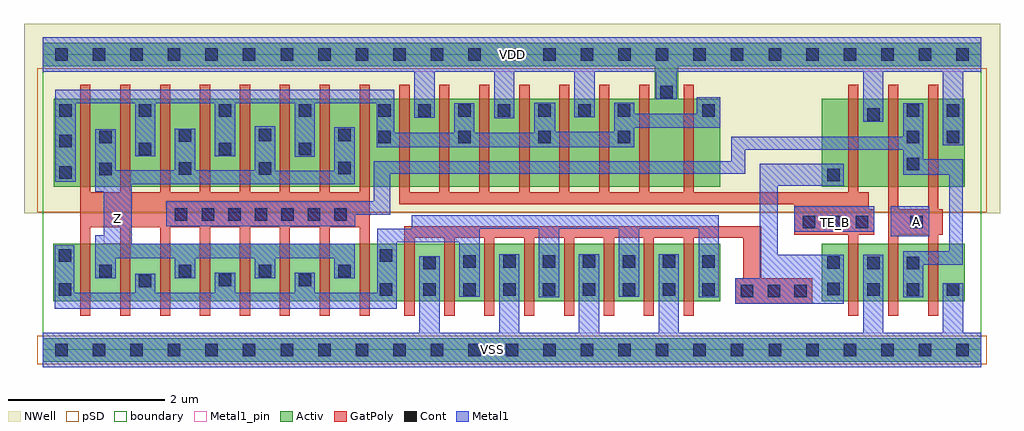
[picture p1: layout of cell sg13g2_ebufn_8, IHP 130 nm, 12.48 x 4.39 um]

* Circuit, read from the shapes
.subckt sg13g2_ebufn_8 A TE_B VDD VSS Z
XM1 Z n1 n2 VSS sg13_lv_nmos w=0.74u l=0.13u m=8
XM2 VSS n3 n2 VSS sg13_lv_nmos w=0.74u l=0.13u m=8
XM3 VSS TE_B n3 VSS sg13_lv_nmos w=0.74u l=0.13u
XM4 n1 A VSS VSS sg13_lv_nmos w=0.74u l=0.13u m=2
XM5 Z n1 n4 VDD sg13_lv_pmos w=1.12u l=0.13u m=8
XM6 VDD TE_B n4 VDD sg13_lv_pmos w=1.12u l=0.13u m=8
XM7 VDD TE_B n3 VDD sg13_lv_pmos w=1.12u l=0.13u
XM8 n1 A VDD VDD sg13_lv_pmos w=1.12u l=0.13u m=2
.ends

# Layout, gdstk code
import gdstk
lib = gdstk.Library(unit=1e-6, precision=1e-09)
def R(c, l, rs):  # rectangles x0, y0, x1, y1
    for r in rs: c.add(gdstk.rectangle(r[:2], r[2:], *l))
def A(c, l, x, y, w, h, nx, ny, dx, dy):  # array of equal rectangles
    R(c, l, [(x+i*dx, y+j*dy, x+i*dx+w, y+j*dy+h) for i in range(nx) for j in range(ny)])
def P(c, l, *ps):  # polygons
    for p in ps: c.add(gdstk.Polygon(p, *l))
Activ = (1, 0)
GatPoly = (5, 0)
Cont = (6, 0)
Metal1 = (8, 0)
Metal1_pin = (8, 2)
pSD = (14, 0)
NWell = (31, 0)
boundary = (189, 4)

sg13g2_ebufn_8 = lib.new_cell('sg13g2_ebufn_8')
R(sg13g2_ebufn_8, Activ, [(0,-0.15,12,0.15), (0.135,0.62,8.665,1.36), (9.96,0.62,11.79,1.36), (9.96,2.09,11.79,3.21)])
P(sg13g2_ebufn_8, Activ, [(0.14,2.09),(0.14,3.21),(7.825,3.21),(7.825,3.63),(0,3.63),(0,3.93),(12,3.93),(12,3.63),(8.125,3.63),(8.125,3.21),(8.665,3.21),(8.665,2.09)])
P(sg13g2_ebufn_8, GatPoly, [(0.48,0.44),(0.48,3.39),(0.61,3.39),(0.61,2.015),(0.99,2.015),(0.99,3.39),(1.12,3.39),(1.12,2.015),(1.5,2.015),(1.5,3.39),(1.63,3.39),(1.63,2.015),(2.01,2.015),(2.01,3.39),(2.14,3.39),(2.14,2.015),(2.52,2.015),(2.52,3.39),(2.65,3.39),(2.65,2.015),(3.03,2.015),(3.03,3.39),(3.16,3.39),(3.16,2.015),(3.54,2.015),(3.54,3.39),(3.67,3.39),(3.67,2.015),(4.05,2.015),(4.05,3.39),(4.18,3.39),(4.18,0.44),(4.05,0.44),(4.05,1.57),(3.67,1.57),(3.67,0.44),(3.54,0.44),(3.54,1.57),(3.16,1.57),(3.16,0.44),(3.03,0.44),(3.03,1.57),(2.65,1.57),(2.65,0.44),(2.52,0.44),(2.52,1.57),(2.14,1.57),(2.14,0.44),(2.01,0.44),(2.01,1.57),(1.63,1.57),(1.63,0.44),(1.5,0.44),(1.5,1.57),(1.12,1.57),(1.12,0.44),(0.99,0.44),(0.99,1.57),(0.61,1.57),(0.61,0.44)],
  [(4.625,0.44),(4.625,1.585),(9.19,1.585),(9.19,0.92),(9.84,0.92),(9.84,0.59),(8.855,0.59),(8.855,0.92),(8.955,0.92),(8.955,1.435),(8.325,1.435),(8.325,0.44),(8.195,0.44),(8.195,1.435),(7.815,1.435),(7.815,0.44),(7.685,0.44),(7.685,1.435),(7.305,1.435),(7.305,0.44),(7.175,0.44),(7.175,1.435),(6.795,1.435),(6.795,0.44),(6.665,0.44),(6.665,1.435),(6.285,1.435),(6.285,0.44),(6.155,0.44),(6.155,1.435),(5.775,1.435),(5.775,0.44),(5.645,0.44),(5.645,1.435),(5.265,1.435),(5.265,0.44),(5.135,0.44),(5.135,1.435),(4.755,1.435),(4.755,0.44)],
  [(10.3,0.44),(10.3,1.47),(9.61,1.47),(9.61,1.865),(4.56,1.865),(4.56,3.39),(4.69,3.39),(4.69,2.015),(5.07,2.015),(5.07,3.39),(5.2,3.39),(5.2,2.015),(5.58,2.015),(5.58,3.39),(5.71,3.39),(5.71,2.015),(6.095,2.015),(6.095,3.39),(6.225,3.39),(6.225,2.015),(6.605,2.015),(6.605,3.39),(6.735,3.39),(6.735,2.015),(7.115,2.015),(7.115,3.39),(7.245,3.39),(7.245,2.015),(7.625,2.015),(7.625,3.39),(7.755,3.39),(7.755,2.015),(8.195,2.015),(8.195,3.39),(8.325,3.39),(8.325,2.015),(10.3,2.015),(10.3,3.39),(10.43,3.39),(10.43,2.015),(10.56,2.015),(10.56,1.8),(10.63,1.8),(10.63,1.47),(10.43,1.47),(10.43,0.44)],
  [(10.81,0.44),(10.81,3.39),(10.94,3.39),(10.94,1.8),(11.32,1.8),(11.32,3.39),(11.45,3.39),(11.45,1.8),(11.51,1.8),(11.51,1.47),(11.45,1.47),(11.45,0.44),(11.32,0.44),(11.32,1.47),(10.94,1.47),(10.94,0.44)])
A(sg13g2_ebufn_8, Cont, 0.16, -0.08, 0.16, 0.16, 25, 2, 0.48, 3.78)
A(sg13g2_ebufn_8, Cont, 4.865, 0.69, 0.16, 0.16, 8, 1, 0.51, 0)
A(sg13g2_ebufn_8, Cont, 10.54, 0.69, 0.16, 0.16, 3, 1, 0.51, 0)
A(sg13g2_ebufn_8, Cont, 0.72, 0.93, 0.16, 0.16, 4, 1, 1.02, 0)
A(sg13g2_ebufn_8, Cont, 5.375, 1.05, 0.16, 0.16, 7, 1, 0.51, 0)
A(sg13g2_ebufn_8, Cont, 9.715, 1.555, 0.16, 0.16, 3, 1, 0.34, 0)
A(sg13g2_ebufn_8, Cont, 1.69, 1.655, 0.16, 0.16, 7, 1, 0.34, 0)
A(sg13g2_ebufn_8, Cont, 11.05, 2.3, 0.16, 0.16, 1, 3, 0, 0.34)
A(sg13g2_ebufn_8, Cont, 1.23, 2.49, 0.16, 0.16, 3, 1, 1.02, 0)
A(sg13g2_ebufn_8, Cont, 0.21, 2.98, 0.16, 0.16, 5, 1, 1.02, 0)
A(sg13g2_ebufn_8, Cont, 4.8, 2.98, 0.16, 0.16, 3, 1, 0.51, 0)
A(sg13g2_ebufn_8, Cont, 6.335, 2.98, 0.16, 0.16, 3, 1, 0.51, 0)
R(sg13g2_ebufn_8, Cont, [(8.925,0.675,9.085,0.835), (9.27,0.675,9.43,0.835), (9.61,0.675,9.77,0.835), (0.205,0.69,0.365,0.85), (4.31,0.69,4.47,0.85), (10.03,0.7,10.19,0.86), (1.23,0.8,1.39,0.96), (2.25,0.815,2.41,0.975), (3.27,0.815,3.43,0.975), (4.865,1.03,5.025,1.19), (10.54,1.03,10.7,1.19), (11.05,1.03,11.21,1.19), (10.03,1.04,10.19,1.2), (0.205,1.13,0.365,1.29), (4.31,1.13,4.47,1.29), (11.095,1.555,11.255,1.715), (10.03,2.16,10.19,2.32), (0.21,2.19,0.37,2.35), (0.72,2.235,0.88,2.395), (1.74,2.24,1.9,2.4), (2.76,2.24,2.92,2.4), (3.78,2.245,3.94,2.405), (0.21,2.59,0.37,2.75), (4.29,2.64,4.45,2.8), (5.31,2.64,5.47,2.8), (6.335,2.64,6.495,2.8), (7.355,2.64,7.515,2.8), (11.56,2.64,11.72,2.8), (0.72,2.645,0.88,2.805), (1.74,2.66,1.9,2.82), (2.76,2.67,2.92,2.83), (3.78,2.67,3.94,2.83), (10.54,2.93,10.7,3.09), (8.435,2.98,8.595,3.14), (11.56,2.98,11.72,3.14), (7.895,3.22,8.055,3.38)])
R(sg13g2_ebufn_8, Metal1, [(10.84,1.455,11.335,1.835), (9.61,1.51,10.63,1.835)])
P(sg13g2_ebufn_8, Metal1, [(0.15,0.53),(0.15,1.34),(0.405,1.34),(0.405,0.73),(1.18,0.73),(1.18,0.975),(1.44,0.975),(1.44,0.73),(2.2,0.73),(2.2,0.985),(2.46,0.985),(2.46,0.73),(3.22,0.73),(3.22,0.985),(3.48,0.985),(3.48,0.73),(4.28,0.73),(4.28,1.55),(4.72,1.55),(4.72,1.72),(8.645,1.72),(8.645,0.675),(8.385,0.675),(8.385,1.55),(7.625,1.55),(7.625,0.68),(7.365,0.68),(7.365,1.55),(6.605,1.55),(6.605,0.675),(6.345,0.675),(6.345,1.55),(5.585,1.55),(5.585,0.68),(5.325,0.68),(5.325,1.38),(4.525,1.38),(4.525,0.53)],
  [(8.855,0.59),(8.855,0.92),(9.165,0.92),(9.165,2.38),(10.24,2.38),(10.24,2.1),(9.4,2.1),(9.4,1.22),(10.24,1.22),(10.24,0.59)],
  [(0.16,2.15),(0.16,3.325),(4.495,3.325),(4.495,2.78),(5.26,2.78),(5.26,3.155),(5.52,3.155),(5.52,2.78),(6.285,2.78),(6.285,3.16),(6.55,3.16),(6.55,2.79),(7.305,2.79),(7.305,3.16),(7.565,3.16),(7.565,3.02),(8.365,3.02),(8.365,3.23),(8.665,3.23),(8.665,2.84),(7.565,2.84),(7.565,2.59),(4.27,2.59),(4.27,3.155),(3.48,3.155),(3.48,2.47),(3.22,2.47),(3.22,3.155),(2.46,3.155),(2.46,2.48),(2.2,2.48),(2.2,3.155),(1.44,3.155),(1.44,2.48),(1.18,2.48),(1.18,3.155),(0.42,3.155),(0.42,2.15)],
  [(11,0.675),(11,1.26),(11.59,1.26),(11.59,2.24),(11,2.24),(11,2.56),(8.985,2.56),(8.985,2.25),(4.445,2.25),(4.445,1.73),(3.995,1.73),(3.995,1.585),(1.58,1.585),(1.58,1.9),(4.235,1.9),(4.235,2.41),(8.805,2.41),(8.805,2.725),(11,2.725),(11,3.155),(11.26,3.155),(11.26,2.44),(11.765,2.44),(11.765,1.09),(11.26,1.09),(11.26,0.675)],
  [(3.73,0.915),(3.73,1.17),(2.97,1.17),(2.97,0.92),(2.71,0.92),(2.71,1.17),(1.95,1.17),(1.95,0.92),(1.685,0.92),(1.685,1.17),(0.93,1.17),(0.93,0.92),(0.67,0.92),(0.67,1.465),(0.78,1.465),(0.78,2.02),(0.67,2.02),(0.67,2.82),(0.93,2.82),(0.93,2.295),(1.69,2.295),(1.69,2.83),(1.95,2.83),(1.95,2.295),(2.71,2.295),(2.71,2.86),(2.97,2.86),(2.97,2.29),(3.73,2.29),(3.73,2.85),(3.99,2.85),(3.99,2.12),(1.14,2.12),(1.14,1.36),(3.99,1.36),(3.99,0.915)],
  [(11.51,2.62),(11.51,3.56),(10.75,3.56),(10.75,2.915),(10.49,2.915),(10.49,3.56),(8.105,3.56),(8.105,3.205),(7.84,3.205),(7.84,3.56),(7.055,3.56),(7.055,2.975),(6.795,2.975),(6.795,3.56),(6.03,3.56),(6.03,2.96),(5.77,2.96),(5.77,3.56),(5.01,3.56),(5.01,2.97),(4.75,2.97),(4.75,3.56),(0,3.56),(0,4),(12,4),(12,3.56),(11.77,3.56),(11.77,2.62)],
  [(0,-0.22),(0,0.22),(4.815,0.22),(4.815,1.2),(5.075,1.2),(5.075,0.22),(5.835,0.22),(5.835,1.225),(6.095,1.225),(6.095,0.22),(6.855,0.22),(6.855,1.225),(7.115,1.225),(7.115,0.22),(7.875,0.22),(7.875,1.225),(8.135,1.225),(8.135,0.22),(10.49,0.22),(10.49,1.22),(10.75,1.22),(10.75,0.22),(11.51,0.22),(11.51,0.855),(11.77,0.855),(11.77,0.22),(12,0.22),(12,-0.22)])
R(sg13g2_ebufn_8, Metal1_pin, [(0,-0.22,12,0.22), (0.78,1.36,1.14,2.295), (10.84,1.455,11.335,1.835), (9.61,1.51,10.63,1.835), (0,3.56,12,4)])
R(sg13g2_ebufn_8, pSD, [(-0.07,-0.18,12.07,0.18), (-0.07,1.76,12.07,3.6)])
R(sg13g2_ebufn_8, NWell, [(-0.24,1.75,12.24,4.17)])
R(sg13g2_ebufn_8, boundary, [(0,0,12,3.78)])
sg13g2_ebufn_8.add(gdstk.Label('TE_B', (10.14,1.635), layer=8, texttype=25))
sg13g2_ebufn_8.add(gdstk.Label('A', (11.17,1.645), layer=8, texttype=25))
sg13g2_ebufn_8.add(gdstk.Label('Z', (0.96,1.68), layer=8, texttype=25))
sg13g2_ebufn_8.add(gdstk.Label('VSS', (5.745,0), layer=8, texttype=25))
sg13g2_ebufn_8.add(gdstk.Label('VDD', (6.01,3.78), layer=8, texttype=25))

lib.write_gds('sg13g2_ebufn_8.gds')
